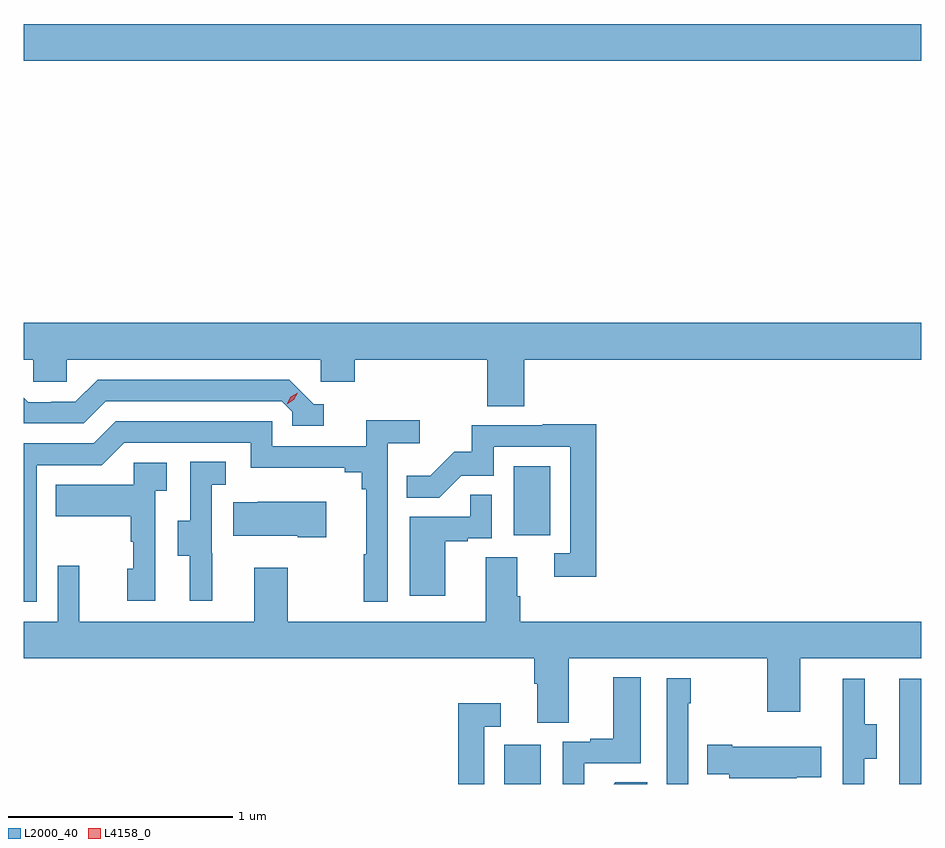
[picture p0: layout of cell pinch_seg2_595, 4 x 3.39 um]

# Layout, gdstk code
import gdstk
lib = gdstk.Library(unit=1e-6, precision=1e-09)
def R(c, l, rs):  # rectangles x0, y0, x1, y1
    for r in rs: c.add(gdstk.rectangle(r[:2], r[2:], *l))
def P(c, l, *ps):  # polygons
    for p in ps: c.add(gdstk.Polygon(p, *l))
L2000_40 = (2000, 40)
L4158_0 = (4158, 0)

pinch_seg2_595 = lib.new_cell('pinch_seg2_595')
R(pinch_seg2_595, L2000_40, [(1037.558,621.768,1037.722,621.943), (1039.32,621.768,1039.417,622.237), (1037.6,622.878,1037.764,623.185), (1035.417,624.992,1039.417,625.156)])
P(pinch_seg2_595, L2000_40, [(1037.648,623.66),(1039.417,623.66),(1039.417,623.824),(1035.417,623.824),(1035.417,623.66),(1035.459,623.66),(1035.459,623.562),(1035.609,623.562),(1035.609,623.66),(1036.74,623.66),(1036.74,623.562),(1036.892,623.562),(1036.892,623.66),(1037.483,623.66),(1037.483,623.452),(1037.648,623.452)],
  [(1036.753,623.46),(1036.71,623.46),(1036.599,623.571),(1035.746,623.571),(1035.647,623.472),(1035.54,623.472),(1035.54,623.469),(1035.437,623.469),(1035.417,623.489),(1035.417,623.376),(1035.684,623.376),(1035.783,623.475),(1036.566,623.475),(1036.614,623.427),(1036.614,623.364),(1036.753,623.364)],
  [(1035.474,623.19),(1035.765,623.19),(1035.864,623.289),(1036.428,623.289),(1036.428,623.177),(1036.847,623.177),(1036.847,623.158),(1036.924,623.158),(1036.924,623.081),(1036.943,623.081),(1036.943,622.793),(1036.932,622.793),(1036.932,622.581),(1037.04,622.581),(1037.04,623.288),(1037.182,623.288),(1037.182,623.39),(1036.943,623.39),(1036.943,623.274),(1036.524,623.274),(1036.524,623.385),(1035.827,623.385),(1035.728,623.286),(1035.417,623.286),(1035.417,622.581),(1035.474,622.581)],
  [(1037.969,623.372),(1037.731,623.372),(1037.731,623.367),(1037.413,623.367),(1037.413,623.25),(1037.336,623.25),(1037.229,623.143),(1037.125,623.143),(1037.125,623.044),(1037.269,623.044),(1037.367,623.142),(1037.511,623.142),(1037.511,623.271),(1037.853,623.271),(1037.853,622.797),(1037.781,622.797),(1037.781,622.692),(1037.969,622.692)],
  [(1036.256,622.797),(1036.254,622.797),(1036.254,623.101),(1036.318,623.101),(1036.318,623.204),(1036.158,623.204),(1036.158,622.941),(1036.103,622.941),(1036.103,622.786),(1036.157,622.786),(1036.157,622.584),(1036.256,622.584)],
  [(1036.002,623.075),(1036.054,623.075),(1036.054,623.199),(1035.906,623.199),(1035.906,623.101),(1035.559,623.101),(1035.559,622.961),(1035.894,622.961),(1035.894,622.847),(1035.904,622.847),(1035.904,622.728),(1035.878,622.728),(1035.878,622.584),(1036.002,622.584)],
  [(1037.296,622.851),(1037.396,622.851),(1037.396,622.863),(1037.502,622.863),(1037.502,623.057),(1037.407,623.057),(1037.407,622.959),(1037.138,622.959),(1037.138,622.608),(1037.296,622.608)],
  [(1036.765,623.026),(1036.459,623.026),(1036.459,623.023),(1036.351,623.023),(1036.351,622.874),(1036.637,622.874),(1036.637,622.867),(1036.765,622.867)],
  [(1037.845,622.328),(1038.73,622.328),(1038.73,622.089),(1038.877,622.089),(1038.877,622.328),(1039.417,622.328),(1039.417,622.492),(1037.63,622.492),(1037.63,622.604),(1037.617,622.604),(1037.617,622.778),(1037.477,622.778),(1037.477,622.492),(1036.593,622.492),(1036.593,622.732),(1036.445,622.732),(1036.445,622.492),(1035.665,622.492),(1035.665,622.741),(1035.567,622.741),(1035.567,622.492),(1035.417,622.492),(1035.417,622.328),(1037.693,622.328),(1037.693,622.216),(1037.705,622.216),(1037.705,622.042),(1037.845,622.042)],
  [(1037.915,621.861),(1038.166,621.861),(1038.166,622.243),(1038.044,622.243),(1038.044,621.97),(1037.941,621.97),(1037.941,621.957),(1037.82,621.957),(1037.82,621.768),(1037.915,621.768)],
  [(1038.378,622.127),(1038.391,622.127),(1038.391,622.24),(1038.282,622.24),(1038.282,621.768),(1038.378,621.768)],
  [(1039.164,621.88),(1039.219,621.88),(1039.219,622.035),(1039.165,622.035),(1039.165,622.237),(1039.067,622.237),(1039.067,622.023),(1039.068,622.023),(1039.068,621.768),(1039.164,621.768)],
  [(1037.469,622.023),(1037.542,622.023),(1037.542,622.129),(1037.353,622.129),(1037.353,621.768),(1037.469,621.768)],
  [(1038.863,621.797),(1038.971,621.797),(1038.971,621.934),(1038.574,621.934),(1038.574,621.942),(1038.463,621.942),(1038.463,621.812),(1038.561,621.812),(1038.561,621.794),(1038.863,621.794)],
  [(1038.197,621.776),(1038.054,621.776),(1038.046,621.768),(1038.197,621.768)])
P(pinch_seg2_595, L4158_0, [(1036.59,623.461),(1036.59,623.461),(1036.607,623.494),(1036.637,623.512),(1036.638,623.512),(1036.638,623.512),(1036.621,623.48),(1036.59,623.461)])

lib.write_gds('pinch_seg2_595.gds')
